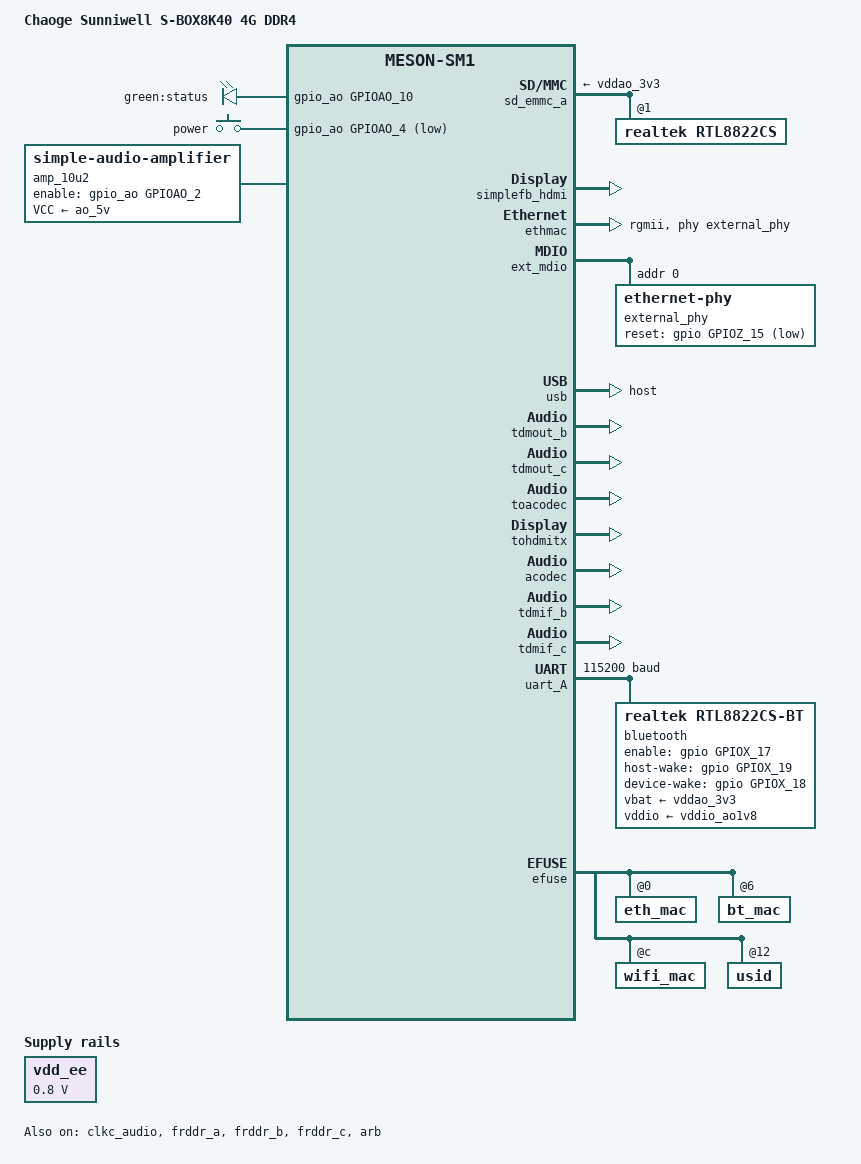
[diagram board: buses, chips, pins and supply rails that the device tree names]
// SPDX-License-Identifier: (GPL-2.0+ OR MIT)
/*
 * Chaoge Sunniwell S-BOX8K40 (Pro) - 实测硬件为 Amlogic Meson G12A (Revision 28:e / 70:2)
 * 为兼容现有 Armbian/ophub 引导与脚本保留 meson-sm1-sbox8k40 文件名与 ac2xx 基础 dtsi
 */

/dts-v1/;

#include "meson-sm1-ac2xx.dtsi"
#include <dt-bindings/sound/meson-g12a-tohdmitx.h>
#include <dt-bindings/sound/meson-g12a-toacodec.h>
#include <dt-bindings/power/meson-g12a-power.h>
#include <dt-bindings/clock/g12a-clkc.h>
#include <dt-bindings/clock/axg-audio-clkc.h>
#include <dt-bindings/reset/amlogic,meson-axg-audio-arb.h>
#include <dt-bindings/reset/amlogic,meson-g12a-audio-reset.h>
#include <dt-bindings/reset/amlogic,meson-g12a-reset.h>
#include <dt-bindings/input/input.h>
#include <dt-bindings/gpio/gpio.h>
#include <dt-bindings/gpio/meson-g12a-gpio.h>
#include <dt-bindings/interrupt-controller/irq.h>
#include <dt-bindings/interrupt-controller/amlogic,meson-g12a-gpio-intc.h>

/ {
	compatible = "chaoge,sbox8k40", "ai-speaker.com,dev3", "amlogic,sm1", "amlogic,g12a";
	model = "Chaoge Sunniwell S-BOX8K40 4G DDR4";

	aliases {
		serial1 = &uart_A;
	};

	reboot {
		compatible = "syscon-reboot";
		regmap = <&wdt_syscon>;
		offset = <0x0>;
		mask = <0x03ffffff>;
		value = <0x03240001>;
		priority = <192>;
	};

	led-controller {
		compatible = "gpio-leds";

		led-green {
			label = "green:status";
			gpios = <&gpio_ao GPIOAO_10 GPIO_ACTIVE_HIGH>;
			default-state = "on";
		};
	};

	gpio-keys-polled {
		compatible = "gpio-keys-polled";
		poll-interval = <100>;

		power-button {
			label = "power";
			linux,code = <KEY_POWER>;
			gpios = <&gpio_ao GPIOAO_4 GPIO_ACTIVE_LOW>;
		};
	};

	vdd_ee: regulator-vdd_ee {
		compatible = "regulator-fixed";
		regulator-name = "vdd_ee";
		regulator-min-microvolt = <800000>;
		regulator-max-microvolt = <800000>;
		regulator-always-on;
		regulator-boot-on;
	};

	amp_10u2: audio-amplifier-0 {
		compatible = "simple-audio-amplifier";
		enable-gpios = <&gpio_ao GPIOAO_2 GPIO_ACTIVE_HIGH>;
		VCC-supply = <&ao_5v>;
		sound-name-prefix = "10U2";
	};

	sound {
		compatible = "amlogic,axg-sound-card";
		model = "MESON-G12A-SBOX8K40";
		audio-widgets = "Line", "Lineout";
		audio-aux-devs = <&tdmout_b>, <&tdmout_c>, <&amp_10u2>;
		audio-routing = "TDMOUT_B IN 0", "FRDDR_A OUT 1",
				"TDMOUT_B IN 1", "FRDDR_B OUT 1",
				"TDMOUT_B IN 2", "FRDDR_C OUT 1",
				"TDM_B Playback", "TDMOUT_B OUT",
				"TDMOUT_C IN 0", "FRDDR_A OUT 2",
				"TDMOUT_C IN 1", "FRDDR_B OUT 2",
				"TDMOUT_C IN 2", "FRDDR_C OUT 2",
				"TDM_C Playback", "TDMOUT_C OUT",
				"10U2 INL", "ACODEC LOLP",
				"10U2 INR", "ACODEC LORP",
				"Lineout", "10U2 OUTL",
				"Lineout", "10U2 OUTR";
		clocks = <&clkc CLKID_MPLL2>,
			 <&clkc CLKID_MPLL0>,
			 <&clkc CLKID_MPLL1>;
		assigned-clocks = <&clkc CLKID_MPLL2>,
				  <&clkc CLKID_MPLL0>,
				  <&clkc CLKID_MPLL1>;
		assigned-clock-parents = <0>, <0>, <0>;
		assigned-clock-rates = <294912000>, <270950400>, <393216000>;
		status = "okay";

		dai-link-0 {
			sound-dai = <&frddr_a>;
		};

		dai-link-1 {
			sound-dai = <&frddr_b>;
		};

		dai-link-2 {
			sound-dai = <&frddr_c>;
		};

		dai-link-3 {
			sound-dai = <&tdmif_b>;
			dai-format = "i2s";
			dai-tdm-slot-tx-mask-0 = <1 1>;
			dai-tdm-slot-tx-mask-1 = <1 1>;
			dai-tdm-slot-tx-mask-2 = <1 1>;
			dai-tdm-slot-tx-mask-3 = <1 1>;
			mclk-fs = <256>;

			codec {
				sound-dai = <&tohdmitx TOHDMITX_I2S_IN_B>;
			};
		};

		dai-link-4 {
			sound-dai = <&tdmif_c>;
			dai-format = "i2s";
			dai-tdm-slot-tx-mask-0 = <1 1>;
			mclk-fs = <256>;

			codec {
				sound-dai = <&toacodec TOACODEC_IN_C>;
			};
		};

		dai-link-5 {
			sound-dai = <&tohdmitx TOHDMITX_I2S_OUT>;

			codec {
				sound-dai = <&hdmi_tx>;
			};
		};

		dai-link-6 {
			sound-dai = <&toacodec TOACODEC_OUT>;

			codec {
				sound-dai = <&acodec>;
			};
		};
	};
};

&cbus {
	wdt_syscon: syscon@f0d0 {
		compatible = "syscon";
		reg = <0x0 0xf0d0 0x0 0x10>;
	};
};

/* sdio_pwrseq: 无复位，仅延迟 */
&sdio_pwrseq {
	reset-gpios = <&gpio GPIOX_6 GPIO_ACTIVE_LOW>;
	post-power-on-delay-ms = <300>;
	power-off-delay-us = <10000>;
};

/* sd_emmc_a (SDIO): 参考 tox1/x96-max-plus 配置 */
&sd_emmc_a {
	vmmc-supply = <&vddao_3v3>;
	vqmmc-supply = <&vddio_ao1v8>;
	/delete-property/ sd-uhs-sdr104;
	sd-uhs-sdr12;
	sd-uhs-sdr25;
	sd-uhs-sdr50;
	max-frequency = <50000000>;
	amlogic,dram-access-quirk;

	#address-cells = <1>;
	#size-cells = <0>;

	rtl8822cs: wifi@1 {
		reg = <1>;
		compatible = "realtek,rtl8822cs";
	};
};

/* ==================== 外设 ==================== */

/* simplefb: 让 HDMI 从启动就开始显示控制台 */
&simplefb_hdmi {
	status = "okay";
	reg = <0x0 0x7b400000 0x0 0x1000000>;
};

&simplefb_cvbs {
	status = "disabled";
};

&ethmac {
	status = "okay";
	pinctrl-0 = <&eth_pins>, <&eth_rgmii_pins>;
	pinctrl-names = "default";
	phy-handle = <&external_phy>;
	phy-mode = "rgmii";
	amlogic,tx-delay-ns = <2>;
	snps,aal;
	snps,rxpbl = <0x8>;
	snps,txpbl = <0x8>;
	rx-fifo-depth = <4096>;
	tx-fifo-depth = <4096>;
	nvmem-cells = <&eth_mac>;
	nvmem-cell-names = "eth_mac";
	power-domains = <&pwrc PWRC_G12A_ETH_ID>;
};

&ext_mdio {
	external_phy: ethernet-phy@0 {
		reg = <0>;
		max-speed = <1000>;
		reset-assert-us = <10000>;
		reset-deassert-us = <80000>;
		reset-gpios = <&gpio GPIOZ_15 (GPIO_ACTIVE_LOW | GPIO_OPEN_DRAIN)>;
	};
};

&usb {
	status = "okay";
	dr_mode = "host";
	/delete-property/ power-domains;
};

&pcie {
	/delete-property/ power-domains;
};

&npu {
	/delete-property/ power-domains;
};

&mali {
	mali-supply = <&vdd_ee>;
};

&pwrc {
	compatible = "amlogic,meson-g12a-pwrc";
};

/* G12A 音频总线在 0xff642000，替换 SM1 的 0xff660000 (bus@60000) */
&apb {
	/delete-node/ bus@60000;

	audio: bus@42000 {
		compatible = "simple-bus";
		reg = <0x0 0x42000 0x0 0x2000>;
		#address-cells = <2>;
		#size-cells = <2>;
		ranges = <0x0 0x0 0x0 0x42000 0x0 0x2000>;

		clkc_audio: clock-controller@0 {
			compatible = "amlogic,g12a-audio-clkc";
			reg = <0x0 0x0 0x0 0xb4>;
			#clock-cells = <1>;
			#reset-cells = <1>;
			clocks = <&clkc CLKID_AUDIO>,
				 <&clkc CLKID_MPLL0>,
				 <&clkc CLKID_MPLL1>,
				 <&clkc CLKID_MPLL2>,
				 <&clkc CLKID_MPLL3>,
				 <&clkc CLKID_HIFI_PLL>,
				 <&clkc CLKID_FCLK_DIV3>,
				 <&clkc CLKID_FCLK_DIV4>,
				 <&clkc CLKID_GP0_PLL>;
			clock-names = "pclk",
				      "mst_in0",
				      "mst_in1",
				      "mst_in2",
				      "mst_in3",
				      "mst_in4",
				      "mst_in5",
				      "mst_in6",
				      "mst_in7";
			resets = <&reset RESET_AUDIO>;
			status = "okay";
		};

		frddr_a: audio-controller@1c0 {
			compatible = "amlogic,g12a-frddr", "amlogic,axg-frddr";
			reg = <0x0 0x1c0 0x0 0x2c>;
			#sound-dai-cells = <0>;
			sound-name-prefix = "FRDDR_A";
			interrupts = <GIC_SPI 152 IRQ_TYPE_EDGE_RISING>;
			clocks = <&clkc_audio AUD_CLKID_FRDDR_A>;
			resets = <&arb AXG_ARB_FRDDR_A>,
				 <&clkc_audio AUD_RESET_FRDDR_A>;
			reset-names = "arb", "rst";
			amlogic,fifo-depth = <512>;
			status = "okay";
		};

		frddr_b: audio-controller@200 {
			compatible = "amlogic,g12a-frddr", "amlogic,axg-frddr";
			reg = <0x0 0x200 0x0 0x2c>;
			#sound-dai-cells = <0>;
			sound-name-prefix = "FRDDR_B";
			interrupts = <GIC_SPI 153 IRQ_TYPE_EDGE_RISING>;
			clocks = <&clkc_audio AUD_CLKID_FRDDR_B>;
			resets = <&arb AXG_ARB_FRDDR_B>,
				 <&clkc_audio AUD_RESET_FRDDR_B>;
			reset-names = "arb", "rst";
			amlogic,fifo-depth = <256>;
			status = "okay";
		};

		frddr_c: audio-controller@240 {
			compatible = "amlogic,g12a-frddr", "amlogic,axg-frddr";
			reg = <0x0 0x240 0x0 0x2c>;
			#sound-dai-cells = <0>;
			sound-name-prefix = "FRDDR_C";
			interrupts = <GIC_SPI 154 IRQ_TYPE_EDGE_RISING>;
			clocks = <&clkc_audio AUD_CLKID_FRDDR_C>;
			resets = <&arb AXG_ARB_FRDDR_C>,
				 <&clkc_audio AUD_RESET_FRDDR_C>;
			reset-names = "arb", "rst";
			amlogic,fifo-depth = <256>;
			status = "okay";
		};

		arb: reset-controller@280 {
			compatible = "amlogic,meson-axg-audio-arb";
			reg = <0x0 0x280 0x0 0x4>;
			#reset-cells = <1>;
			clocks = <&clkc_audio AUD_CLKID_DDR_ARB>;
			status = "okay";
		};

		tdmout_b: audio-controller@540 {
			compatible = "amlogic,g12a-tdmout";
			reg = <0x0 0x540 0x0 0x40>;
			sound-name-prefix = "TDMOUT_B";
			resets = <&clkc_audio AUD_RESET_TDMOUT_B>;
			clocks = <&clkc_audio AUD_CLKID_TDMOUT_B>,
				 <&clkc_audio AUD_CLKID_TDMOUT_B_SCLK>,
				 <&clkc_audio AUD_CLKID_TDMOUT_B_SCLK_SEL>,
				 <&clkc_audio AUD_CLKID_TDMOUT_B_LRCLK>,
				 <&clkc_audio AUD_CLKID_TDMOUT_B_LRCLK>;
			clock-names = "pclk", "sclk", "sclk_sel",
				      "lrclk", "lrclk_sel";
			status = "okay";
		};

		tdmout_c: audio-controller@580 {
			compatible = "amlogic,g12a-tdmout";
			reg = <0x0 0x580 0x0 0x40>;
			sound-name-prefix = "TDMOUT_C";
			resets = <&clkc_audio AUD_RESET_TDMOUT_C>;
			clocks = <&clkc_audio AUD_CLKID_TDMOUT_C>,
				 <&clkc_audio AUD_CLKID_TDMOUT_C_SCLK>,
				 <&clkc_audio AUD_CLKID_TDMOUT_C_SCLK_SEL>,
				 <&clkc_audio AUD_CLKID_TDMOUT_C_LRCLK>,
				 <&clkc_audio AUD_CLKID_TDMOUT_C_LRCLK>;
			clock-names = "pclk", "sclk", "sclk_sel",
				      "lrclk", "lrclk_sel";
			status = "okay";
		};

		toacodec: audio-controller@740 {
			compatible = "amlogic,g12a-toacodec";
			reg = <0x0 0x740 0x0 0x4>;
			#sound-dai-cells = <1>;
			sound-name-prefix = "TOACODEC";
			resets = <&clkc_audio AUD_RESET_TOACODEC>;
			status = "okay";
		};

		tohdmitx: audio-controller@744 {
			compatible = "amlogic,g12a-tohdmitx";
			reg = <0x0 0x744 0x0 0x4>;
			#sound-dai-cells = <1>;
			sound-name-prefix = "TOHDMITX";
			resets = <&clkc_audio AUD_RESET_TOHDMITX>;
			status = "okay";
		};
	};
};

&acodec {
	status = "okay";
	AVDD-supply = <&vddio_ao1v8>;
};

&tdmif_b {
	status = "okay";
};

&tdmif_c {
	status = "okay";
};

&uart_A {
	status = "okay";
	pinctrl-0 = <&uart_a_pins>, <&uart_a_cts_rts_pins>;
	pinctrl-names = "default";
	current-speed = <115200>;
	uart-has-rtscts;
	amlogic,xtal_tick_en = <0x02>;
	amlogic,uart-fifosize = <0x80>;

	bluetooth {
		compatible = "realtek,rtl8822cs-bt";
		enable-gpios = <&gpio GPIOX_17 GPIO_ACTIVE_HIGH>;
		host-wake-gpios = <&gpio GPIOX_19 GPIO_ACTIVE_HIGH>;
		device-wake-gpios = <&gpio GPIOX_18 GPIO_ACTIVE_HIGH>;
		max-speed = <1500000>;
		clocks = <&wifi32k>;
		clock-names = "lpo";
		vbat-supply = <&vddao_3v3>;
		vddio-supply = <&vddio_ao1v8>;
	};
};

&efuse {
	eth_mac: eth_mac@0 { reg = <0x0 0x06>; };
	bt_mac: bt_mac@6 { reg = <0x6 0x06>; };
	wifi_mac: wifi_mac@12 { reg = <0x0c 0x06>; };
	usid: usid@18 { reg = <0x12 0x10>; };
};

&cpu_opp_table {
	opp-2016000000 { status = "disabled"; };
	opp-2100000000 { status = "disabled"; };
};
